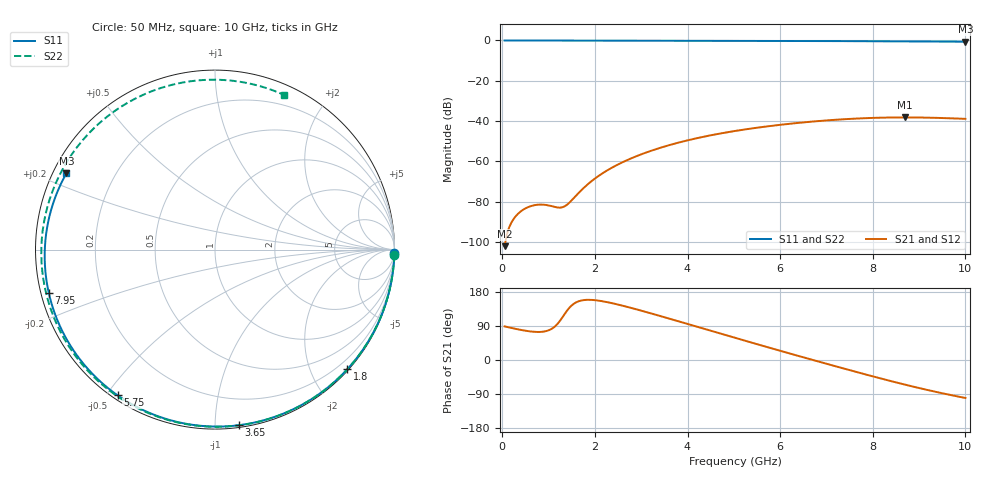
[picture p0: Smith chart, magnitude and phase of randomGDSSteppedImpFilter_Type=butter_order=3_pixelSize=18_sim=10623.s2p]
! freq	dB(S11)	phase(S11)	dB(S12)	phase(S12)
!  dB(S21)	phase(S21)	dB(S22)	phase(S22)
!S-par simulation data
#  GHz  S  DB  R 50
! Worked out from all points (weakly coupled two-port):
!   200 points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, 50 MHz to 10 GHz, reference 50 ohm
!   highest |S21| = -38.20 dB at 8.7 GHz (marker M1); lowest = -102.1 dB at 50 MHz (marker M2)
!   lowest |S11| = -0.6 dB at 10 GHz (marker M3), VSWR 27.85, Z = 1.9 + j12.1 ohm
!   |S11| at or under -10 dB: nowhere
!   |S22| runs from -0.5 to 0.0 dB; largest |S21 - S12| = 0
!   S11 on the Smith chart (normalised r, x): 50 MHz: 0, -95; 1.8 GHz: 0.02, -2.60; 3.65 GHz: 0.01, -1.14; 5.75 GHz: 0.02, -0.53; 7.95 GHz: 0.02, -0.13; 10 GHz: 0.04, +0.24
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0.05  -0.00 -1.2  -102.12 88.7  -102.12 88.7  -0.00 -1.7
0.7  -0.02 -16.6  -81.75 74.3  -81.75 74.3  -0.03 -23.3
1.45  -0.04 -34.1  -80.49 138.1  -80.49 138.1  -0.06 -47.7
1.5  -0.04 -35.3  -79.33 144.2  -79.33 144.2  -0.06 -49.3
1.75  -0.05 -41.0  -73.38 157.9  -73.38 157.9  -0.07 -57.2
1.8  -0.05 -42.1  -72.32 158.6  -72.32 158.6  -0.07 -58.7
2.1  -0.06 -48.9  -66.92 156.3  -66.92 156.3  -0.08 -68.0
2.45  -0.07 -56.7  -62.14 147.7  -62.14 147.7  -0.10 -78.5
2.9  -0.09 -66.5  -57.42 133.6  -57.42 133.6  -0.11 -91.7
3.4  -0.10 -77.1  -53.37 116.5  -53.37 116.5  -0.13 -106.0
3.65  -0.11 -82.3  -51.68 107.6  -51.68 107.6  -0.14 -112.9
4.35  -0.14 -96.5  -47.79 82.6  -47.79 82.6  -0.18 -131.9
5.05  -0.17 -110.3  -44.84 57.7  -44.84 57.7  -0.21 -150.4
5.75  -0.21 -123.8  -42.57 33.0  -42.57 33.0  -0.26 -168.9
6.25  -0.24 -133.2  -41.25 15.7  -41.25 15.7  -0.29 177.8
6.7  -0.27 -141.7  -40.26 0.2  -40.26 0.2  -0.32 165.7
7.3  -0.32 -153.0  -39.21 -20.1  -39.21 -20.1  -0.36 149.1
7.95  -0.38 -165.3  -38.48 -41.6  -38.48 -41.6  -0.41 130.3
8.35  -0.42 -173.1  -38.26 -54.4  -38.26 -54.4  -0.43 118.4
8.7  -0.46 180.0  -38.20 -65.2  -38.20 -65.2  -0.45 107.6
9.35  -0.54 166.7  -38.41 -83.8  -38.41 -83.8  -0.48 87.1
10  -0.62 152.8  -38.92 -100.2  -38.92 -100.2  -0.50 66.1
